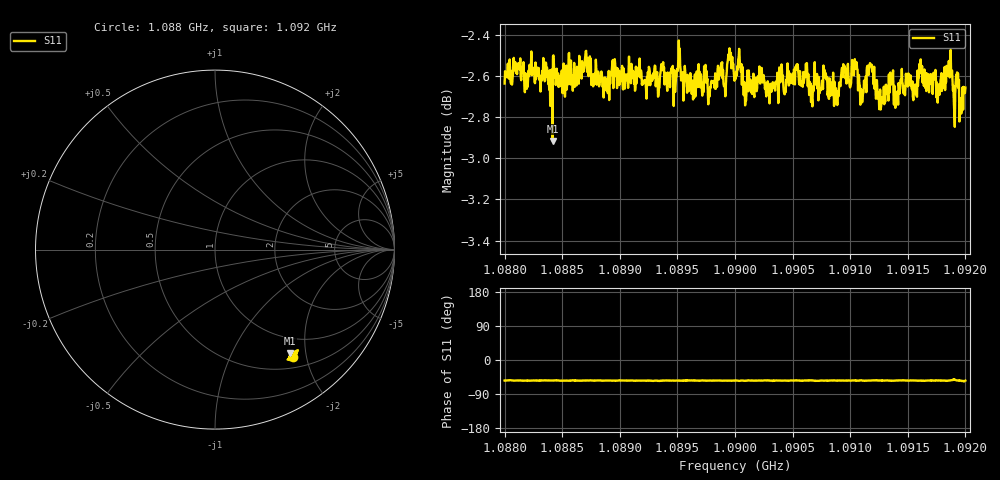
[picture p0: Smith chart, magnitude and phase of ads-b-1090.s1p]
! Calibrated averaged scanner-service zoom
# Hz S RI R 50
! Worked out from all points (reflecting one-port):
!   1001 points, 1.088 GHz to 1.092 GHz, reference 50 ohm
!   lowest |S11| = -2.9 dB at 1.08842 GHz (marker M1), VSWR 6.01, Z = 36.4 - j86.1 ohm
!   phase of S11 starts at -54 deg and turns -0 deg over the sweep
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1.088e9  0.4325 -0.5983
1.088416e9  0.4195 -0.5788
1.0885e9  0.4337 -0.6031
1.089e9  0.4421 -0.5967
1.08934e9  0.4223 -0.6036
1.0895e9  0.4347 -0.6041
1.08962e9  0.4365 -0.5952
1.089956e9  0.4381 -0.611
1.09e9  0.4297 -0.6034
1.090088e9  0.4205 -0.5958
1.0905e9  0.4376 -0.5996
1.09066e9  0.4336 -0.588
1.090716e9  0.4219 -0.6032
1.09088e9  0.4318 -0.5939
1.091e9  0.4319 -0.5967
1.0911e9  0.435 -0.5932
1.091164e9  0.4359 -0.6033
1.091268e9  0.4303 -0.5881
1.091356e9  0.4286 -0.6031
1.091412e9  0.4294 -0.5949
1.0915e9  0.4344 -0.5953
1.09156e9  0.4314 -0.5954
1.091624e9  0.4307 -0.6084
1.091764e9  0.4359 -0.5932
1.091852e9  0.4309 -0.6035
1.091892e9  0.4541 -0.5783
1.091968e9  0.4122 -0.6
1.092e9  0.4286 -0.599
